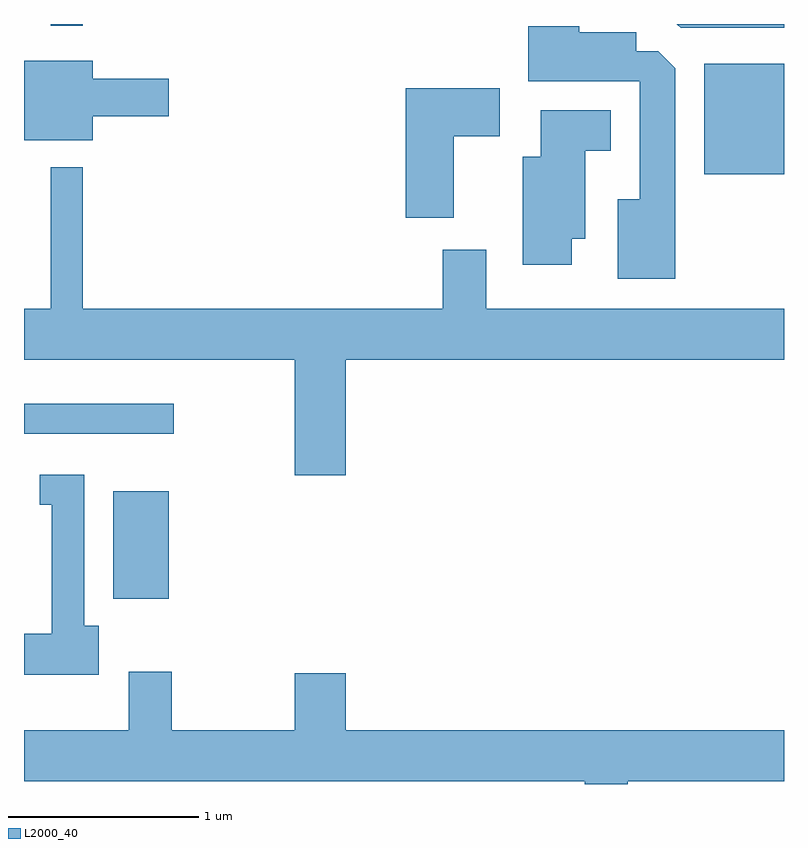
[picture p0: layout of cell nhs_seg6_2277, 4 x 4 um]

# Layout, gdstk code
import gdstk
lib = gdstk.Library(unit=1e-6, precision=1e-09)
def R(c, l, rs):  # rectangles x0, y0, x1, y1
    for r in rs: c.add(gdstk.rectangle(r[:2], r[2:], *l))
def P(c, l, *ps):  # polygons
    for p in ps: c.add(gdstk.Polygon(p, *l))
L2000_40 = (2000, 40)

nhs_seg6_2277 = lib.new_cell('nhs_seg6_2277')
R(nhs_seg6_2277, L2000_40, [(254.081,1633.136,254.374,1633.704), (253.611,1634.006,254.398,1634.164), (257.191,1635.371,257.611,1635.954), (253.751,1636.153,253.919,1636.162)])
P(nhs_seg6_2277, L2000_40, [(257.611,1636.162),(257.046,1636.162),(257.067,1636.141),(257.611,1636.141)],
  [(257.039,1635.929),(256.949,1636.019),(256.834,1636.019),(256.834,1636.119),(256.534,1636.119),(256.534,1636.149),(256.266,1636.149),(256.266,1635.861),(256.851,1635.861),(256.851,1635.239),(256.736,1635.239),(256.736,1634.821),(257.039,1634.821)],
  [(253.974,1635.676),(254.374,1635.676),(254.374,1635.874),(253.974,1635.874),(253.974,1635.969),(253.611,1635.969),(253.611,1635.551),(253.974,1635.551)],
  [(255.874,1635.571),(256.114,1635.571),(256.114,1635.824),(255.621,1635.824),(255.621,1635.141),(255.874,1635.141)],
  [(256.494,1635.031),(256.564,1635.031),(256.564,1635.496),(256.699,1635.496),(256.699,1635.709),(256.331,1635.709),(256.331,1635.464),(256.236,1635.464),(256.236,1634.896),(256.494,1634.896)],
  [(255.304,1634.396),(257.611,1634.396),(257.611,1634.664),(256.044,1634.664),(256.044,1634.974),(255.816,1634.974),(255.816,1634.664),(253.919,1634.664),(253.919,1635.408),(253.751,1635.408),(253.751,1634.664),(253.611,1634.664),(253.611,1634.396),(255.036,1634.396),(255.036,1633.786),(255.304,1633.786)],
  [(254.004,1632.994),(253.929,1632.994),(253.929,1633.789),(253.693,1633.789),(253.693,1633.631),(253.756,1633.631),(253.756,1632.954),(253.611,1632.954),(253.611,1632.736),(254.004,1632.736)],
  [(256.789,1632.176),(257.611,1632.176),(257.611,1632.444),(255.304,1632.444),(255.304,1632.744),(255.036,1632.744),(255.036,1632.444),(254.389,1632.444),(254.389,1632.754),(254.161,1632.754),(254.161,1632.444),(253.611,1632.444),(253.611,1632.176),(256.561,1632.176),(256.561,1632.162),(256.789,1632.162)])

lib.write_gds('nhs_seg6_2277.gds')
